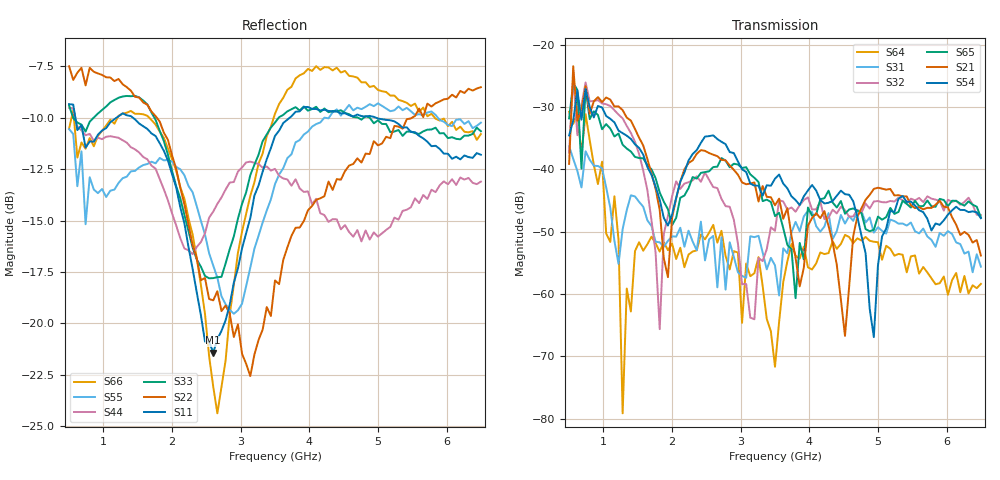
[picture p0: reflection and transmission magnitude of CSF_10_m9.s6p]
!Keysight Technologies,M9804A,MY58100912,A.14.10.03
!Date: Thursday, April 27, 2023 10:28:33
!Correction: S11(C  6-Port  )
!S12(C  6-Port  )
!S13(C  6-Port  )
!S14(C  6-Port  )
!S15(C  6-Port  )
!S16(C  6-Port  )
!S21(C  6-Port  )
!S22(C  6-Port  )
!S23(C  6-Port  )
!S24(C  6-Port  )
!S25(C  6-Port  )
!S26(C  6-Port  )
!S31(C  6-Port  )
!S32(C  6-Port  )
!S33(C  6-Port  )
!S34(C  6-Port  )
!S35(C  6-Port  )
!S36(C  6-Port  )
!S41(C  6-Port  )
!S42(C  6-Port  )
!S43(C  6-Port  )
!S44(C  6-Port  )
!S45(C  6-Port  )
!S46(C  6-Port  )
!S51(C  6-Port  )
!S52(C  6-Port  )
!S53(C  6-Port  )
!S54(C  6-Port  )
!S55(C  6-Port  )
!S56(C  6-Port  )
!S61(C  6-Port  )
!S62(C  6-Port  )
!S63(C  6-Port  )
!S64(C  6-Port  )
!S65(C  6-Port  )
!S66(C  6-Port  )
!S6P File: Measurement: :
# Hz S  RI  R 50
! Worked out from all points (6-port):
!   101 points, 500 MHz to 6.5 GHz, reference 50 ohm
!   strongest paths, dB at 500 MHz, 2 GHz, 3.5 GHz, 5 GHz, 6.5 GHz:
!     S54: -34.6, -47.3, -41.5, -55.4, -47.8
!     S21: -39.1, -47.8, -45.8, -42.9, -53.8
!     S65: -31.8, -48.9, -47.5, -47.6, -47.7
!     S32: -37.3, -44.3, -49.8, -45.1, -47.3
!     S31: -36.3, -50.7, -55.4, -49.3, -55.6
!     S64: -30.8, -51.9, -71.6, -51.7, -58.4
!   lowest |S11| = -21.4 dB at 2.6 GHz (marker M1), VSWR 1.19, Z = 42.5 + j2.19 ohm
!   |S11| at or under -10 dB: 591 MHz to 1.189 GHz (597.9 MHz wide, 67.2 % of centre); 1.431 GHz to 3.713 GHz (2.282 GHz wide, 88.7 % of centre); 4.973 GHz to end of sweep
